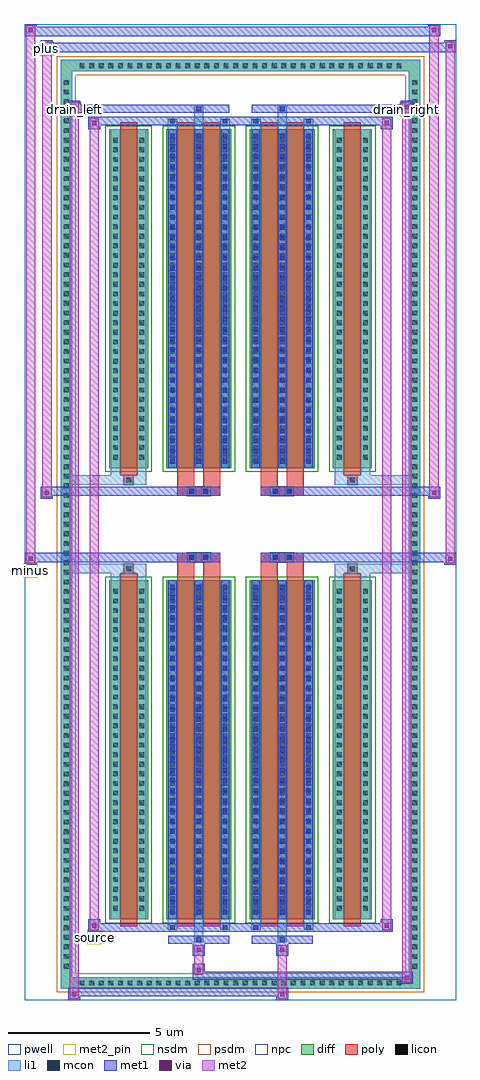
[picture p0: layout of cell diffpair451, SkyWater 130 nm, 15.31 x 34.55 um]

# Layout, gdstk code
import gdstk
lib = gdstk.Library(unit=1e-6, precision=5e-09)
def R(c, l, rs):  # rectangles x0, y0, x1, y1
    for r in rs: c.add(gdstk.rectangle(r[:2], r[2:], *l))
def A(c, l, x, y, w, h, nx, ny, dx, dy):  # array of equal rectangles
    R(c, l, [(x+i*dx, y+j*dy, x+i*dx+w, y+j*dy+h) for i in range(nx) for j in range(ny)])
def P(c, l, *ps):  # polygons
    for p in ps: c.add(gdstk.Polygon(p, *l))
pwell = (64, 44)
diff = (65, 20)
poly = (66, 20)
licon = (66, 44)
li1 = (67, 20)
mcon = (67, 44)
met1 = (68, 20)
via = (68, 44)
met2_pin = (69, 16)
met2 = (69, 20)
nsdm = (93, 44)
psdm = (94, 20)
npc = (95, 20)

diffpair451 = lib.new_cell('diffpair451')
R(diffpair451, pwell, [(-7.64,-16.84,7.64,17.71), (-4.96,-15.03,-0.01,-0.805), (0.01,-15.03,4.96,-0.805), (-4.96,0.805,-0.01,15.03), (0.01,0.805,4.96,15.03)])
A(diffpair451, diff, -5.815, -16.44, 0.41, 0.41, 34, 2, 0.34, 32.47)
A(diffpair451, diff, -6.37, -15.845, 0.41, 0.41, 1, 93, 0, 0.34)
A(diffpair451, diff, 5.96, -15.845, 0.41, 0.41, 1, 93, 0, 0.34)
R(diffpair451, diff, [(-5.815,-16.44,5.815,-16.03), (-6.37,-15.845,-5.96,15.845), (5.96,-15.845,6.37,15.845), (-4.65,-13.985,-3.27,-1.985), (-2.63,-13.985,-0.32,-1.985), (0.32,-13.985,2.63,-1.985), (3.27,-13.985,4.65,-1.985), (-4.65,1.985,-3.27,13.985), (-2.63,1.985,-0.32,13.985), (0.32,1.985,2.63,13.985), (3.27,1.985,4.65,13.985), (-5.815,16.03,5.815,16.44)])
P(diffpair451, diff, [(6.37,16.44),(-6.37,16.44),(-6.37,-16.03),(-5.96,-16.03),(-5.96,16.03),(5.96,16.03),(5.96,-16.03),(-5.96,-16.03),(-6.37,-16.03),(-6.37,-16.44),(6.37,-16.44)])
R(diffpair451, poly, [(-4.26,-14.235,-3.66,-1.735), (-2.24,-14.235,-1.64,-1.735), (-1.31,-14.235,-0.71,-1.735), (0.71,-14.235,1.31,-1.735), (1.64,-14.235,2.24,-1.735), (3.66,-14.235,4.26,-1.735), (-4.125,-1.735,-3.795,-1.405), (-4.125,-1.735,-3.795,-1.405), (-2.24,-1.735,-1.64,-1.335), (-1.31,-1.735,-0.71,-1.335), (0.71,-1.735,1.31,-1.335), (1.64,-1.735,2.24,-1.335), (3.795,-1.735,4.125,-1.405), (3.795,-1.735,4.125,-1.405), (-2.24,-1.335,-0.71,-1.005), (-1.89,-1.335,-1.56,-1.005), (-1.39,-1.335,-1.06,-1.005), (0.71,-1.335,2.24,-1.005), (1.06,-1.335,1.39,-1.005), (1.56,-1.335,1.89,-1.005), (-2.24,1.005,-0.71,1.335), (-1.89,1.005,-1.56,1.335), (-1.39,1.005,-1.06,1.335), (0.71,1.005,2.24,1.335), (1.06,1.005,1.39,1.335), (1.56,1.005,1.89,1.335), (-2.24,1.335,-1.64,1.735), (-1.31,1.335,-0.71,1.735), (0.71,1.335,1.31,1.735), (1.64,1.335,2.24,1.735), (-4.125,1.405,-3.795,1.735), (-4.125,1.405,-3.795,1.735), (3.795,1.405,4.125,1.735), (3.795,1.405,4.125,1.735), (-4.26,1.735,-3.66,14.235), (-2.24,1.735,-1.64,14.235), (-1.31,1.735,-0.71,14.235), (0.71,1.735,1.31,14.235), (1.64,1.735,2.24,14.235), (3.66,1.735,4.26,14.235)])
A(diffpair451, licon, -5.695, -16.32, 0.17, 0.17, 34, 2, 0.34, 32.47)
A(diffpair451, licon, -6.25, -15.725, 0.17, 0.17, 1, 93, 0, 0.34)
A(diffpair451, licon, 6.08, -15.725, 0.17, 0.17, 1, 93, 0, 0.34)
A(diffpair451, licon, -4.51, -13.68, 0.17, 0.17, 1, 34, 0, 0.34)
A(diffpair451, licon, -3.58, -13.68, 0.17, 0.17, 1, 34, 0, 0.34)
A(diffpair451, licon, -2.49, -13.68, 0.17, 0.17, 3, 34, 0.93, 0.34)
A(diffpair451, licon, 0.46, -13.68, 0.17, 0.17, 3, 34, 0.93, 0.34)
A(diffpair451, licon, 3.41, -13.68, 0.17, 0.17, 1, 34, 0, 0.34)
A(diffpair451, licon, 4.34, -13.68, 0.17, 0.17, 1, 34, 0, 0.34)
A(diffpair451, licon, -4.51, 2.29, 0.17, 0.17, 1, 34, 0, 0.34)
A(diffpair451, licon, -3.58, 2.29, 0.17, 0.17, 1, 34, 0, 0.34)
A(diffpair451, licon, -2.49, 2.29, 0.17, 0.17, 3, 34, 0.93, 0.34)
A(diffpair451, licon, 0.46, 2.29, 0.17, 0.17, 3, 34, 0.93, 0.34)
A(diffpair451, licon, 3.41, 2.29, 0.17, 0.17, 1, 34, 0, 0.34)
A(diffpair451, licon, 4.34, 2.29, 0.17, 0.17, 1, 34, 0, 0.34)
R(diffpair451, licon, [(-4.045,-1.655,-3.875,-1.485), (3.875,-1.655,4.045,-1.485), (-1.81,-1.255,-1.64,-1.085), (-1.31,-1.255,-1.14,-1.085), (1.14,-1.255,1.31,-1.085), (1.64,-1.255,1.81,-1.085), (-1.81,1.085,-1.64,1.255), (-1.31,1.085,-1.14,1.255), (1.14,1.085,1.31,1.255), (1.64,1.085,1.81,1.255), (-4.045,1.485,-3.875,1.655), (3.875,1.485,4.045,1.655)])
A(diffpair451, li1, -5.775, -16.4, 0.33, 0.33, 34, 2, 0.34, 32.47)
A(diffpair451, li1, -6.33, -15.805, 0.33, 0.33, 1, 93, 0, 0.34)
A(diffpair451, li1, 6, -15.805, 0.33, 0.33, 1, 93, 0, 0.34)
A(diffpair451, li1, -2.57, -13.985, 0.33, 12, 3, 2, 0.93, 15.97)
A(diffpair451, li1, 0.38, -13.985, 0.33, 12, 3, 2, 0.93, 15.97)
A(diffpair451, li1, -2.49, -13.83, 0.17, 0.17, 3, 33, 0.93, 0.36)
A(diffpair451, li1, -2.49, -13.83, 0.17, 11.69, 3, 2, 0.93, 15.97)
A(diffpair451, li1, 0.46, -13.83, 0.17, 0.17, 3, 33, 0.93, 0.36)
A(diffpair451, li1, 0.46, -13.83, 0.17, 11.69, 3, 2, 0.93, 15.97)
A(diffpair451, li1, -4.59, -13.76, 0.33, 0.33, 1, 34, 0, 0.34)
A(diffpair451, li1, -3.66, -13.76, 0.33, 0.33, 1, 34, 0, 0.34)
A(diffpair451, li1, -2.57, -13.76, 0.33, 0.33, 3, 34, 0.93, 0.34)
A(diffpair451, li1, 0.38, -13.76, 0.33, 0.33, 3, 34, 0.93, 0.34)
A(diffpair451, li1, 3.33, -13.76, 0.33, 0.33, 1, 34, 0, 0.34)
A(diffpair451, li1, 4.26, -13.76, 0.33, 0.33, 1, 34, 0, 0.34)
A(diffpair451, li1, -2.49, 2.14, 0.17, 0.17, 3, 33, 0.93, 0.36)
A(diffpair451, li1, 0.46, 2.14, 0.17, 0.17, 3, 33, 0.93, 0.36)
A(diffpair451, li1, -4.59, 2.21, 0.33, 0.33, 1, 34, 0, 0.34)
A(diffpair451, li1, -3.66, 2.21, 0.33, 0.33, 1, 34, 0, 0.34)
A(diffpair451, li1, -2.57, 2.21, 0.33, 0.33, 3, 34, 0.93, 0.34)
A(diffpair451, li1, 0.38, 2.21, 0.33, 0.33, 3, 34, 0.93, 0.34)
A(diffpair451, li1, 3.33, 2.21, 0.33, 0.33, 1, 34, 0, 0.34)
A(diffpair451, li1, 4.26, 2.21, 0.33, 0.33, 1, 34, 0, 0.34)
R(diffpair451, li1, [(-6.37,-16.44,-5.96,-16.03), (-6.37,-16.44,-5.96,-16.03), (-5.96,-16.44,5.96,-16.03), (5.96,-16.44,6.37,-16.03), (5.96,-16.44,6.37,-16.03), (-6.37,-16.03,-5.96,16.03), (5.96,-16.03,6.37,16.03), (-1.64,-14.79,-1.31,-13.985), (-1.56,-14.79,-1.39,-14.62), (1.31,-14.79,1.64,-13.985), (1.39,-14.79,1.56,-14.62), (-2.57,-14.36,-2.24,-13.985), (-2.49,-14.36,-2.32,-14.19), (-0.71,-14.36,-0.38,-13.985), (-0.63,-14.36,-0.46,-14.19), (0.38,-14.36,0.71,-13.985), (0.46,-14.36,0.63,-14.19), (2.24,-14.36,2.57,-13.985), (2.32,-14.36,2.49,-14.19), (-4.59,-13.985,-4.26,-1.985), (-3.66,-13.985,-3.33,-1.985), (3.33,-13.985,3.66,-1.985), (4.26,-13.985,4.59,-1.985), (-4.59,-1.985,-4.26,-1.405), (-3.66,-1.985,-3.33,-1.405), (3.33,-1.985,3.66,-1.405), (4.26,-1.985,4.59,-1.405), (-6.37,-1.735,-4.125,-1.405), (-4.59,-1.735,-4.125,-1.405), (-4.125,-1.735,-3.795,-1.405), (-3.795,-1.735,-3.33,-1.405), (3.33,-1.735,3.795,-1.405), (3.795,-1.735,4.125,-1.405), (3.795,-1.735,6.37,-1.405), (4.125,-1.735,4.59,-1.405), (-1.89,-1.335,-1.56,-1.005), (-1.39,-1.335,-1.06,-1.005), (1.06,-1.335,1.39,-1.005), (1.56,-1.335,1.89,-1.005), (-1.89,1.005,-1.56,1.335), (-1.39,1.005,-1.06,1.335), (1.06,1.005,1.39,1.335), (1.56,1.005,1.89,1.335), (-6.37,1.405,-4.125,1.735), (-4.59,1.405,-4.125,1.735), (-4.59,1.405,-4.26,1.985), (-4.125,1.405,-3.795,1.735), (-3.795,1.405,-3.33,1.735), (-3.66,1.405,-3.33,1.985), (3.33,1.405,3.795,1.735), (3.33,1.405,3.66,1.985), (3.795,1.405,4.125,1.735), (3.795,1.405,6.37,1.735), (4.125,1.405,4.59,1.735), (4.26,1.405,4.59,1.985), (-4.59,1.985,-4.26,13.985), (-3.66,1.985,-3.33,13.985), (3.33,1.985,3.66,13.985), (4.26,1.985,4.59,13.985), (-2.57,13.985,-2.24,14.36), (-1.64,13.985,-1.31,14.79), (-0.71,13.985,-0.38,14.36), (0.38,13.985,0.71,14.36), (1.31,13.985,1.64,14.79), (2.24,13.985,2.57,14.36), (-2.49,14.19,-2.32,14.36), (-0.63,14.19,-0.46,14.36), (0.46,14.19,0.63,14.36), (2.32,14.19,2.49,14.36), (-1.56,14.62,-1.39,14.79), (1.39,14.62,1.56,14.79), (-6.37,16.03,-5.96,16.44), (-6.37,16.03,-5.96,16.44), (-5.96,16.03,5.96,16.44), (5.96,16.03,6.37,16.44), (5.96,16.03,6.37,16.44)])
A(diffpair451, mcon, -2.49, -13.83, 0.17, 0.17, 3, 33, 0.93, 0.36)
A(diffpair451, mcon, 0.46, -13.83, 0.17, 0.17, 3, 33, 0.93, 0.36)
A(diffpair451, mcon, -2.49, 2.14, 0.17, 0.17, 3, 33, 0.93, 0.36)
A(diffpair451, mcon, 0.46, 2.14, 0.17, 0.17, 3, 33, 0.93, 0.36)
R(diffpair451, mcon, [(-1.56,-14.79,-1.39,-14.62), (1.39,-14.79,1.56,-14.62), (-2.49,-14.36,-2.32,-14.19), (-0.63,-14.36,-0.46,-14.19), (0.46,-14.36,0.63,-14.19), (2.32,-14.36,2.49,-14.19), (-1.81,-1.255,-1.64,-1.085), (-1.31,-1.255,-1.14,-1.085), (1.14,-1.255,1.31,-1.085), (1.64,-1.255,1.81,-1.085), (-1.81,1.085,-1.64,1.255), (-1.31,1.085,-1.14,1.255), (1.14,1.085,1.31,1.255), (1.64,1.085,1.81,1.255), (-2.49,14.19,-2.32,14.36), (-0.63,14.19,-0.46,14.36), (0.46,14.19,0.63,14.36), (2.32,14.19,2.49,14.36), (-1.56,14.62,-1.39,14.79), (1.39,14.62,1.56,14.79)])
A(diffpair451, met1, -2.55, -13.985, 0.29, 12, 3, 2, 0.93, 15.97)
A(diffpair451, met1, 0.4, -13.985, 0.29, 12, 3, 2, 0.93, 15.97)
A(diffpair451, met1, -2.55, -13.89, 0.29, 0.29, 3, 33, 0.93, 0.36)
A(diffpair451, met1, 0.4, -13.89, 0.29, 0.29, 3, 33, 0.93, 0.36)
A(diffpair451, met1, -2.55, 2.08, 0.29, 0.29, 3, 33, 0.93, 0.36)
A(diffpair451, met1, 0.4, 2.08, 0.29, 0.29, 3, 33, 0.93, 0.36)
R(diffpair451, met1, [(-6.1,-16.84,-5.67,-16.41), (1.26,-16.84,1.69,-16.41), (-6.1,-16.7,1.69,-16.41), (5.67,-16.27,6.1,-15.84), (-1.69,-16.13,6.1,-15.84), (-1.69,-15.99,-1.26,-15.56), (-1.69,-15.28,-1.26,-14.85), (1.26,-15.28,1.69,-14.85), (-2.55,-14.85,-0.4,-14.56), (-1.62,-14.85,-1.33,-14.56), (0.4,-14.85,2.55,-14.56), (1.33,-14.85,1.62,-14.56), (-5.39,-14.42,-4.96,-13.99), (-5.39,-14.42,-2.55,-14.13), (-2.55,-14.42,-2.26,-14.13), (-2.55,-14.42,-0.4,-14.13), (-0.69,-14.42,-0.4,-14.13), (-0.4,-14.42,0.4,-14.13), (0.4,-14.42,0.69,-14.13), (0.4,-14.42,2.55,-14.13), (2.26,-14.42,2.55,-14.13), (2.55,-14.42,5.39,-14.13), (4.96,-14.42,5.39,-13.99), (-7.64,-1.435,-7.21,-1.005), (7.21,-1.435,7.64,-1.005), (-7.64,-1.335,-0.71,-1.005), (-2.24,-1.335,-0.71,-1.005), (0.71,-1.335,2.24,-1.005), (0.71,-1.335,7.64,-1.005), (-1.87,-1.315,-1.58,-1.025), (-1.37,-1.315,-1.08,-1.025), (1.08,-1.315,1.37,-1.025), (1.58,-1.315,1.87,-1.025), (-7.07,0.905,-6.64,1.335), (6.64,0.905,7.07,1.335), (-7.07,1.005,-2.24,1.335), (-2.24,1.005,-0.71,1.335), (0.71,1.005,2.24,1.335), (2.24,1.005,7.07,1.335), (-1.87,1.025,-1.58,1.315), (-1.37,1.025,-1.08,1.315), (1.08,1.025,1.37,1.315), (1.58,1.025,1.87,1.315), (-5.39,13.99,-4.96,14.42), (4.96,13.99,5.39,14.42), (-5.39,14.13,-2.55,14.42), (-2.55,14.13,-2.26,14.42), (-2.55,14.13,-0.4,14.42), (-0.69,14.13,-0.4,14.42), (-0.4,14.13,0.4,14.42), (0.4,14.13,0.69,14.42), (0.4,14.13,2.55,14.42), (2.26,14.13,2.55,14.42), (2.55,14.13,5.39,14.42), (-6.1,14.56,-5.67,14.99), (-6.1,14.56,-2.55,14.85), (-2.55,14.56,-0.4,14.85), (-1.62,14.56,-1.33,14.85), (0.4,14.56,2.55,14.85), (1.33,14.56,1.62,14.85), (2.55,14.56,6.1,14.85), (5.67,14.56,6.1,14.99), (-7.07,16.71,-6.64,17.14), (-7.07,16.71,-4.96,17.04), (-4.96,16.71,4.96,17.04), (4.96,16.71,7.64,17.04), (7.21,16.71,7.64,17.14), (-7.64,17.28,-7.21,17.71), (-7.64,17.28,-4.96,17.61), (-4.96,17.28,4.96,17.61), (4.96,17.28,7.07,17.61), (6.64,17.28,7.07,17.71)])
R(diffpair451, via, [(-5.96,-16.7,-5.81,-16.55), (1.4,-16.7,1.55,-16.55), (5.81,-16.13,5.96,-15.98), (-1.55,-15.85,-1.4,-15.7), (-1.55,-15.14,-1.4,-14.99), (1.4,-15.14,1.55,-14.99), (-5.25,-14.28,-5.1,-14.13), (5.1,-14.28,5.25,-14.13), (-7.5,-1.295,-7.35,-1.145), (7.35,-1.295,7.5,-1.145), (-6.93,1.045,-6.78,1.195), (6.78,1.045,6.93,1.195), (-5.25,14.13,-5.1,14.28), (5.1,14.13,5.25,14.28), (-5.96,14.7,-5.81,14.85), (5.81,14.7,5.96,14.85), (-6.93,16.85,-6.78,17), (7.35,16.85,7.5,17), (-7.5,17.42,-7.35,17.57), (6.78,17.42,6.93,17.57)])
R(diffpair451, met2_pin, [(-5.425,-14.87,-4.925,-14.37), (-7.675,-1.885,-7.175,-1.385), (-6.135,14.44,-5.635,14.94), (5.635,14.44,6.135,14.94), (-7.105,16.59,-6.605,17.09)])
R(diffpair451, met2, [(-6.05,-16.79,-5.72,-16.46), (-6.05,-16.79,-5.72,14.94), (1.31,-16.79,1.64,-16.46), (1.31,-16.46,1.64,-15.23), (5.72,-16.22,6.05,-15.89), (5.72,-16.22,6.05,14.94), (-1.64,-15.94,-1.31,-15.61), (-1.64,-15.61,-1.31,-15.23), (-1.64,-15.23,-1.31,-14.9), (1.31,-15.23,1.64,-14.9), (-5.34,-14.37,-5.01,-14.04), (-5.34,-14.37,-5.01,14.37), (5.01,-14.37,5.34,-14.04), (5.01,-14.37,5.34,14.37), (-7.59,-1.385,-7.26,-1.055), (-7.59,-1.385,-7.26,17.66), (7.26,-1.385,7.59,-1.055), (7.26,-1.385,7.59,17.09), (-7.02,0.955,-6.69,1.285), (-7.02,0.955,-6.69,17.09), (6.69,0.955,7.02,1.285), (6.69,0.955,7.02,17.66), (-5.34,14.04,-5.01,14.37), (5.01,14.04,5.34,14.37), (-6.05,14.61,-5.72,14.94), (5.72,14.61,6.05,14.94), (-7.02,16.76,-6.69,17.09), (7.26,16.76,7.59,17.09), (-7.59,17.33,-7.26,17.66), (6.69,17.33,7.02,17.66)])
P(diffpair451, met2, [(7.59,-1.385),(7.59,-1.385),(7.59,-1.055),(7.59,-1.055)],
  [(7.59,16.76),(7.59,16.76),(7.59,17.09),(7.59,17.09)],
  [(-7.26,-1.385),(-7.26,-1.385),(-7.26,-1.055),(-7.26,-1.055)],
  [(-7.26,17.33),(-7.26,17.33),(-7.26,17.66),(-7.26,17.66)],
  [(7.02,0.955),(7.02,0.955),(7.02,1.285),(7.02,1.285)],
  [(7.02,17.33),(7.02,17.33),(7.02,17.66),(7.02,17.66)],
  [(-6.69,0.955),(-6.69,0.955),(-6.69,1.285),(-6.69,1.285)],
  [(-6.69,16.76),(-6.69,16.76),(-6.69,17.09),(-6.69,17.09)],
  [(-5.72,-16.79),(-5.72,-16.79),(-5.72,-16.46),(-5.72,-16.46)],
  [(-5.72,14.61),(-5.72,14.61),(-5.72,14.94),(-5.72,14.94)],
  [(6.05,-16.22),(6.05,-16.22),(6.05,-15.89),(6.05,-15.89)],
  [(6.05,14.61),(6.05,14.61),(6.05,14.94),(6.05,14.94)],
  [(-5.01,-14.37),(-5.01,-14.37),(-5.01,-14.04),(-5.01,-14.04)],
  [(-5.01,14.04),(-5.01,14.04),(-5.01,14.37),(-5.01,14.37)],
  [(5.34,-14.37),(5.34,-14.37),(5.34,-14.04),(5.34,-14.04)],
  [(5.34,14.04),(5.34,14.04),(5.34,14.37),(5.34,14.37)])
R(diffpair451, nsdm, [(-4.78,-14.115,-3.14,-1.855), (-2.76,-14.115,-0.19,-1.855), (0.19,-14.115,2.76,-1.855), (3.14,-14.115,4.78,-1.855), (-4.78,1.855,-3.14,14.115), (-2.76,1.855,-0.19,14.115), (0.19,1.855,2.76,14.115), (3.14,1.855,4.78,14.115)])
P(diffpair451, psdm, [(6.5,16.57),(-6.5,16.57),(-6.5,-15.9),(-5.83,-15.9),(-5.83,15.9),(5.83,15.9),(5.83,-15.9),(-5.83,-15.9),(-6.5,-15.9),(-6.5,-16.57),(6.5,-16.57)])
R(diffpair451, npc, [(-4.145,-1.755,-3.775,-1.385), (3.775,-1.755,4.145,-1.385), (-1.91,-1.355,-1.54,-0.985), (-1.91,-1.355,-1.04,-0.985), (-1.91,-1.355,-1.04,-0.985), (-1.41,-1.355,-1.04,-0.985), (1.04,-1.355,1.41,-0.985), (1.04,-1.355,1.91,-0.985), (1.04,-1.355,1.91,-0.985), (1.54,-1.355,1.91,-0.985), (-1.91,0.985,-1.54,1.355), (-1.91,0.985,-1.04,1.355), (-1.91,0.985,-1.04,1.355), (-1.41,0.985,-1.04,1.355), (1.04,0.985,1.41,1.355), (1.04,0.985,1.91,1.355), (1.04,0.985,1.91,1.355), (1.54,0.985,1.91,1.355), (-4.145,1.385,-3.775,1.755), (3.775,1.385,4.145,1.755)])
diffpair451.add(gdstk.Label('minus', (-7.425,-1.635), layer=69, texttype=5))
diffpair451.add(gdstk.Label('drain_right', (5.885,14.69), layer=69, texttype=5))
diffpair451.add(gdstk.Label('drain_left', (-5.885,14.69), layer=69, texttype=5))
diffpair451.add(gdstk.Label('source', (-5.175,-14.62), layer=69, texttype=5))
diffpair451.add(gdstk.Label('plus', (-6.855,16.84), layer=69, texttype=5))

lib.write_gds('diffpair451.gds')
